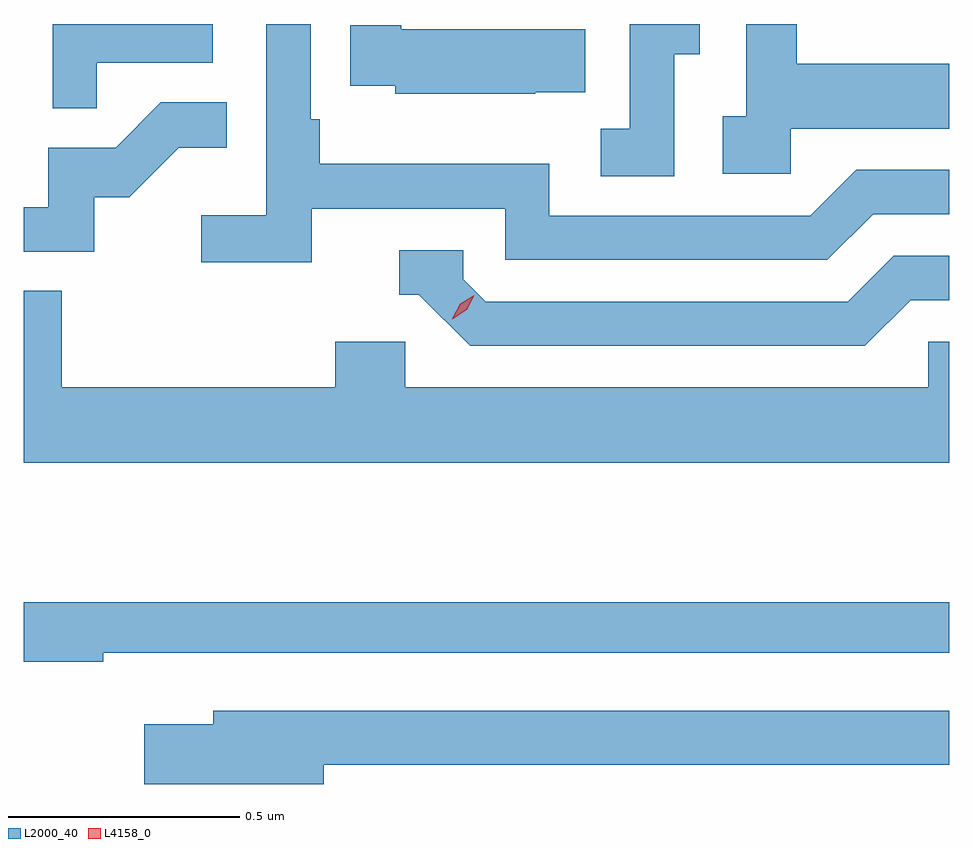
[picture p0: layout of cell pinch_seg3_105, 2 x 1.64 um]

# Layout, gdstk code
import gdstk
lib = gdstk.Library(unit=1e-6, precision=1e-09)
def P(c, l, *ps):  # polygons
    for p in ps: c.add(gdstk.Polygon(p, *l))
L2000_40 = (2000, 40)
L4158_0 = (4158, 0)

pinch_seg3_105 = lib.new_cell('pinch_seg3_105')
P(pinch_seg3_105, L2000_40, [(1078.236,728.44),(1078.291,728.44),(1078.291,728.505),(1078.14,728.505),(1078.14,728.279),(1078.077,728.279),(1078.077,728.176),(1078.236,728.176)],
  [(1078.488,728.279),(1078.83,728.279),(1078.83,728.419),(1078.501,728.419),(1078.501,728.505),(1078.392,728.505),(1078.392,728.306),(1078.341,728.306),(1078.341,728.181),(1078.488,728.181)],
  [(1077.452,728.106),(1077.87,728.106),(1077.87,727.995),(1078.567,727.995),(1078.666,728.094),(1078.83,728.094),(1078.83,728.19),(1078.629,728.19),(1078.53,728.091),(1077.966,728.091),(1077.966,728.203),(1077.47,728.203),(1077.47,728.299),(1077.45,728.299),(1077.45,728.505),(1077.354,728.505),(1077.354,728.092),(1077.213,728.092),(1077.213,727.99),(1077.452,727.99)],
  [(1076.987,728.421),(1077.238,728.421),(1077.238,728.505),(1076.892,728.505),(1076.892,728.323),(1076.987,728.323)],
  [(1077.935,728.357),(1078.043,728.357),(1078.043,728.494),(1077.646,728.494),(1077.646,728.502),(1077.535,728.502),(1077.535,728.372),(1077.633,728.372),(1077.633,728.354),(1077.935,728.354)],
  [(1076.982,728.13),(1077.058,728.13),(1077.165,728.237),(1077.269,728.237),(1077.269,728.336),(1077.126,728.336),(1077.028,728.238),(1076.883,728.238),(1076.883,728.109),(1076.83,728.109),(1076.83,728.013),(1076.982,728.013)],
  [(1078.747,727.908),(1078.83,727.908),(1078.83,728.004),(1078.71,728.004),(1078.611,727.905),(1077.828,727.905),(1077.78,727.953),(1077.78,728.016),(1077.641,728.016),(1077.641,727.92),(1077.684,727.92),(1077.795,727.809),(1078.648,727.809)],
  [(1078.83,727.818),(1078.785,727.818),(1078.785,727.72),(1077.654,727.72),(1077.654,727.818),(1077.503,727.818),(1077.503,727.72),(1076.912,727.72),(1076.912,727.928),(1076.83,727.928),(1076.83,727.556),(1078.83,727.556)],
  [(1077.002,727.146),(1078.83,727.146),(1078.83,727.255),(1076.83,727.255),(1076.83,727.126),(1077.002,727.126)],
  [(1077.478,726.904),(1078.83,726.904),(1078.83,727.02),(1077.239,727.02),(1077.239,726.991),(1077.09,726.991),(1077.09,726.862),(1077.478,726.862)])
P(pinch_seg3_105, L4158_0, [(1077.756,727.867),(1077.756,727.868),(1077.773,727.9),(1077.803,727.919),(1077.804,727.919),(1077.804,727.919),(1077.787,727.887),(1077.756,727.867)])

lib.write_gds('pinch_seg3_105.gds')
